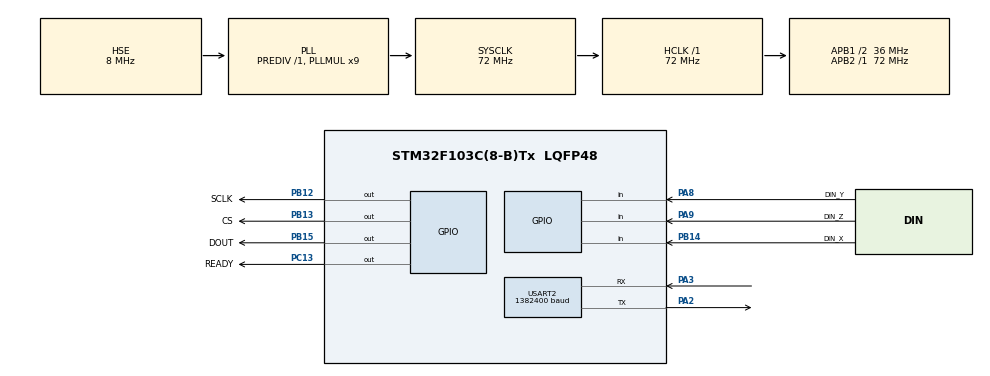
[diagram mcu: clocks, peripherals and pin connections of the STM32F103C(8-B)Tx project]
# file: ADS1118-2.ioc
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Dma.Request0=USART2_RX
Dma.Request1=USART2_TX
Dma.USART2_RX.0.Direction=DMA_PERIPH_TO_MEMORY
Dma.USART2_RX.0.Instance=DMA1_Channel6
Dma.USART2_RX.0.MemDataAlignment=DMA_MDATAALIGN_BYTE
Dma.USART2_RX.0.MemInc=DMA_MINC_ENABLE
Dma.USART2_RX.0.Mode=DMA_NORMAL
Dma.USART2_RX.0.PeriphDataAlignment=DMA_PDATAALIGN_BYTE
Dma.USART2_RX.0.PeriphInc=DMA_PINC_DISABLE
Dma.USART2_RX.0.Priority=DMA_PRIORITY_LOW
Dma.USART2_TX.1.Direction=DMA_MEMORY_TO_PERIPH
Dma.USART2_TX.1.Instance=DMA1_Channel7
Dma.USART2_TX.1.MemDataAlignment=DMA_MDATAALIGN_BYTE
Dma.USART2_TX.1.MemInc=DMA_MINC_ENABLE
Dma.USART2_TX.1.Mode=DMA_NORMAL
Dma.USART2_TX.1.PeriphDataAlignment=DMA_PDATAALIGN_BYTE
Dma.USART2_TX.1.PeriphInc=DMA_PINC_DISABLE
Dma.USART2_TX.1.Priority=DMA_PRIORITY_LOW
Mcu.Family=STM32F1
Mcu.Name=STM32F103C(8-B)Tx
Mcu.Package=LQFP48
NVIC.DMA1_Channel6_IRQn=true\:0\:0\:false\:false\:true\:false
NVIC.DMA1_Channel7_IRQn=true\:0\:0\:false\:false\:true\:false
NVIC.PriorityGroup=NVIC_PRIORITYGROUP_4
NVIC.USART2_IRQn=true\:0\:0\:false\:false\:true\:true
PA13.Mode=Serial_Wire
PA13.Signal=SYS_JTMS-SWDIO
PA14.Mode=Serial_Wire
PA14.Signal=SYS_JTCK-SWCLK
PA2.Mode=Asynchronous
PA2.Signal=USART2_TX
PA3.Mode=Asynchronous
PA3.Signal=USART2_RX
PA8.GPIO_Label=DIN_Y
PA8.Signal=GPIO_Input
PA9.GPIO_Label=DIN_Z
PA9.Signal=GPIO_Input
PB12.GPIO_Label=SCLK
PB12.Signal=GPIO_Output
PB13.GPIO_Label=CS
PB13.Signal=GPIO_Output
PB14.GPIO_Label=DIN_X
PB14.Signal=GPIO_Input
PB15.GPIO_Label=DOUT
PB15.Signal=GPIO_Output
PC13-TAMPER-RTC.GPIO_Label=READY
PC13-TAMPER-RTC.Signal=GPIO_Output
PD0-OSC_IN.Mode=HSE-External-Oscillator
PD0-OSC_IN.Signal=RCC_OSC_IN
PD1-OSC_OUT.Mode=HSE-External-Oscillator
PD1-OSC_OUT.Signal=RCC_OSC_OUT
ProjectManager.HeapSize=0x200
ProjectManager.StackSize=0x400
ProjectManager.TargetToolchain=TrueSTUDIO
RCC.AHBFreq_Value=72000000
RCC.APB1CLKDivider=RCC_HCLK_DIV2
RCC.APB1Freq_Value=36000000
RCC.APB1TimFreq_Value=72000000
RCC.APB2Freq_Value=72000000
RCC.APB2TimFreq_Value=72000000
RCC.HCLKFreq_Value=72000000
RCC.PLLMUL=RCC_PLL_MUL9
RCC.PLLSourceVirtual=RCC_PLLSOURCE_HSE
RCC.SYSCLKFreq_VALUE=72000000
RCC.SYSCLKSource=RCC_SYSCLKSOURCE_PLLCLK
RCC.USBFreq_Value=72000000
USART2.BaudRate=1382400
USART2.VirtualMode=VM_ASYNC
board=custom

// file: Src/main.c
/**
  ******************************************************************************
  * @file           : main.c
  * @brief          : Main program body
  ******************************************************************************
  ** This notice applies to any and all portions of this file
  * that are not between comment pairs USER CODE BEGIN and
  * USER CODE END. Other portions of this file, whether
  * inserted by the user or by software development tools
  * are owned by their respective copyright owners.
  *
  * COPYRIGHT(c) 2019 STMicroelectronics
  *
  * Redistribution and use in source and binary forms, with or without modification,
  * are permitted provided that the following conditions are met:
  *   1. Redistributions of source code must retain the above copyright notice,
  *      this list of conditions and the following disclaimer.
  *   2. Redistributions in binary form must reproduce the above copyright notice,
  *      this list of conditions and the following disclaimer in the documentation
  *      and/or other materials provided with the distribution.
  *   3. Neither the name of STMicroelectronics nor the names of its contributors
  *      may be used to endorse or promote products derived from this software
  *      without specific prior written permission.
  *
  * THIS SOFTWARE IS PROVIDED BY THE COPYRIGHT HOLDERS AND CONTRIBUTORS "AS IS"
  * AND ANY EXPRESS OR IMPLIED WARRANTIES, INCLUDING, BUT NOT LIMITED TO, THE
  * IMPLIED WARRANTIES OF MERCHANTABILITY AND FITNESS FOR A PARTICULAR PURPOSE ARE
  * DISCLAIMED. IN NO EVENT SHALL THE COPYRIGHT HOLDER OR CONTRIBUTORS BE LIABLE
  * FOR ANY DIRECT, INDIRECT, INCIDENTAL, SPECIAL, EXEMPLARY, OR CONSEQUENTIAL
  * DAMAGES (INCLUDING, BUT NOT LIMITED TO, PROCUREMENT OF SUBSTITUTE GOODS OR
  * SERVICES; LOSS OF USE, DATA, OR PROFITS; OR BUSINESS INTERRUPTION) HOWEVER
  * CAUSED AND ON ANY THEORY OF LIABILITY, WHETHER IN CONTRACT, STRICT LIABILITY,
  * OR TORT (INCLUDING NEGLIGENCE OR OTHERWISE) ARISING IN ANY WAY OUT OF THE USE
  * OF THIS SOFTWARE, EVEN IF ADVISED OF THE POSSIBILITY OF SUCH DAMAGE.
  *
  ******************************************************************************
  */
#include "main.h"
#include "stm32f1xx_hal.h"

/* USER CODE BEGIN Includes */
#include "dwt_stm32_delay.h"
/* USER CODE END Includes */

UART_HandleTypeDef huart2;
DMA_HandleTypeDef hdma_usart2_rx;
DMA_HandleTypeDef hdma_usart2_tx;

/* USER CODE BEGIN PV */
/* Private variables ---------------------------------------------------------*/

/* USER CODE END PV */

void SystemClock_Config(void);
static void MX_GPIO_Init(void);
static void MX_DMA_Init(void);
static void MX_USART2_UART_Init(void);

/* USER CODE BEGIN PFP */
/* Private function prototypes -----------------------------------------------*/

/* USER CODE END PFP */

/* USER CODE BEGIN 0 */
uint16_t  data[3];
uint16_t command=0x04EB;
uint8_t   rxBuffer,sync_code=0x00;
/*
 * readCommand Function
 * Parameters: 	config ----> CONFIG COMMAND TO SEND
 * 				discardData ---> Discard The return Data from ADS1118
 *
 * 	Basic Idea of Function:
 * 		Sends 16 bit length of config command to all three ADS1118.
 * 		At the same time, if discardData==false, stores the 3 16 bit
 * 		return data of all ADS1118 to data variable
 *
 * 		For Deeper information for why does the function works this
 * 		way is to read Datasheet or Ask MEEE :D :D
 *
 */
void readCommand(uint16_t config,uint8_t discardData)
{
	uint16_t read;
	int16_t counter=15;
	if(discardData==0)
	{
		data[0]=0x0000;
		data[1]=0x0000;
		data[2]=0x0000;
	}
	DWT_Delay_us(1);
	while(counter>=0)
	{
		read=config>>counter;
		read=read&0x0001;
		read=read==0x0001?GPIO_PIN_SET:GPIO_PIN_RESET;
		HAL_GPIO_WritePin(DOUT_GPIO_Port,DOUT_Pin,read);
		HAL_GPIO_WritePin(SCLK_GPIO_Port,SCLK_Pin,GPIO_PIN_SET);
		DWT_Delay_us(1);
		HAL_GPIO_WritePin(SCLK_GPIO_Port,SCLK_Pin,GPIO_PIN_RESET);
		if(discardData==0)
		{
			read=HAL_GPIO_ReadPin(DIN_X_GPIO_Port,DIN_X_Pin)==GPIO_PIN_SET?0x01:0x00;
			read=read<<counter;
			data[0]=data[0]|read;
			read=HAL_GPIO_ReadPin(DIN_Y_GPIO_Port,DIN_Y_Pin)==GPIO_PIN_SET?0x01:0x00;
			read=read<<counter;
			data[1]=data[1]|read;
			read=HAL_GPIO_ReadPin(DIN_Z_GPIO_Port,DIN_Z_Pin)==GPIO_PIN_SET?0x01:0x00;
			read=read<<counter--;
			data[2]=data[2]|read;
		}else{
			DWT_Delay_us(2);
			counter--;
		}
	}
	if(data[0]>=0)
		data[0]++;
	if(data[1]>=0)
		data[1]++;
	if(data[2]>=0)
		data[2]++;
	//HAL_GPIO_WritePin(CS_GPIO_Port,CS_Pin,GPIO_PIN_SET);
	return;
}
void HAL_UART_RxCpltCallback(UART_HandleTypeDef *huart)
{
	/*
	 * UART RECEIVE Callback
	 * All receive byte are received in this function
	 * Read Byte will determine the active action of STM32 below
	 */
  if(rxBuffer=='0'){
	  command=0x00EB;
  }else if(rxBuffer=='1'){
	  command=0x02EB;
  }else if(rxBuffer=='2'){
	  command=0x04EB;
  }else if(rxBuffer=='3'){
	  command=0x06EB;
  }else if(rxBuffer=='4'){
	  command=0x08EB;
  }else if(rxBuffer=='5'){
	  command=0x0AEB;
  }
  HAL_UART_Receive_DMA(&huart2, &rxBuffer, 1);
}
/* USER CODE END 0 */

int main(void)
{

  /* MCU Configuration----------------------------------------------------------*/

  /* Reset of all peripherals, Initializes the Flash interface and the Systick. */
  HAL_Init();

  /* Configure the system clock */
  SystemClock_Config();

  /* Initialize all configured peripherals */
  MX_GPIO_Init();
  MX_DMA_Init();
  MX_USART2_UART_Init();
  /* USER CODE BEGIN 2 */
  //Initialize Pins
  HAL_GPIO_WritePin(READY_GPIO_Port,READY_Pin,GPIO_PIN_SET);
  HAL_GPIO_WritePin(CS_GPIO_Port,CS_Pin,GPIO_PIN_SET);
  HAL_GPIO_WritePin(SCLK_GPIO_Port,SCLK_Pin,GPIO_PIN_RESET);
  HAL_GPIO_WritePin(DOUT_GPIO_Port,DOUT_Pin,GPIO_PIN_RESET);
  DWT_Delay_Init();
  HAL_UART_Transmit(&huart2,"AT",2,1);
  HAL_Delay(1000);
  HAL_GPIO_WritePin(CS_GPIO_Port,CS_Pin,GPIO_PIN_RESET);

  /* Update Config Reg 0x04EB, refer to datasheet @ page 25 on Table 7
  	 For more information about Config Register
 	 For Data Communication Please refer to Page 24 to see
  	 How does data transfer to each other
   */
  readCommand(0x04EB,1);
  readCommand(0x04EB,1);

  /*
   * LED LIGHT ON to determine that initialization is complete
   * The color of the led is Yellowish and is found on the
   * STM32 board
   */
  HAL_GPIO_WritePin(READY_GPIO_Port,READY_Pin,GPIO_PIN_RESET);

  /*
   * Set DMA(Direct Memory Access) Receive mode for UART
   * and Callback HAL_UART_RxCpltCallback is called everytime
   * a Byte is received
   */
  HAL_UART_Receive_DMA(&huart2,&rxBuffer,1);
  /* USER CODE END 2 */

  /* Infinite loop */
  /* USER CODE BEGIN WHILE */
  while (1)
  {
	  /*
	   * Checks if the 3 ADS1118 Out Pin is low
	   * if all out pins are low start reading the three data
	   */
	  if(HAL_GPIO_ReadPin(DIN_X_GPIO_Port,DIN_X_Pin)==GPIO_PIN_RESET)
	  {
		  if(HAL_GPIO_ReadPin(DIN_Y_GPIO_Port,DIN_Y_Pin)==GPIO_PIN_RESET)
		  {
			  if(HAL_GPIO_ReadPin(DIN_Z_GPIO_Port,DIN_Z_Pin)==GPIO_PIN_RESET)
			  {
				  readCommand(command,0);//Send Command and Read The 16 bit Data
				  readCommand(command,1);//Send Command and Discard the return Data
				  /*
				   * Sends The data through bluetooth
				   * Sync_Code variable for synchronizing data with Android
				   */
				  HAL_UART_Transmit(&huart2,&sync_code,1,1);
				  HAL_UART_Transmit(&huart2,data,6,1s);
			  }
		  }
	  }

  /* USER CODE END WHILE */

  }

}

void SystemClock_Config(void)
{

  RCC_OscInitTypeDef RCC_OscInitStruct;
  RCC_ClkInitTypeDef RCC_ClkInitStruct;

    /**Initializes the CPU, AHB and APB busses clocks
    */
  RCC_OscInitStruct.OscillatorType = RCC_OSCILLATORTYPE_HSE;
  RCC_OscInitStruct.HSEState = RCC_HSE_ON;
  RCC_OscInitStruct.HSEPredivValue = RCC_HSE_PREDIV_DIV1;
  RCC_OscInitStruct.HSIState = RCC_HSI_ON;
  RCC_OscInitStruct.PLL.PLLState = RCC_PLL_ON;
  RCC_OscInitStruct.PLL.PLLSource = RCC_PLLSOURCE_HSE;
  RCC_OscInitStruct.PLL.PLLMUL = RCC_PLL_MUL9;
  if (HAL_RCC_OscConfig(&RCC_OscInitStruct) != HAL_OK)
  {
    _Error_Handler(__FILE__, __LINE__);
  }

    /**Initializes the CPU, AHB and APB busses clocks
    */
  RCC_ClkInitStruct.ClockType = RCC_CLOCKTYPE_HCLK|RCC_CLOCKTYPE_SYSCLK
                              |RCC_CLOCKTYPE_PCLK1|RCC_CLOCKTYPE_PCLK2;
  RCC_ClkInitStruct.SYSCLKSource = RCC_SYSCLKSOURCE_PLLCLK;
  RCC_ClkInitStruct.AHBCLKDivider = RCC_SYSCLK_DIV1;
  RCC_ClkInitStruct.APB1CLKDivider = RCC_HCLK_DIV2;
  RCC_ClkInitStruct.APB2CLKDivider = RCC_HCLK_DIV1;

  if (HAL_RCC_ClockConfig(&RCC_ClkInitStruct, FLASH_LATENCY_2) != HAL_OK)
  {
    _Error_Handler(__FILE__, __LINE__);
  }

    /**Configure the Systick interrupt time
    */
  HAL_SYSTICK_Config(HAL_RCC_GetHCLKFreq()/1000);

    /**Configure the Systick
    */
  HAL_SYSTICK_CLKSourceConfig(SYSTICK_CLKSOURCE_HCLK);

  /* SysTick_IRQn interrupt configuration */
  HAL_NVIC_SetPriority(SysTick_IRQn, 0, 0);
}

/* USART2 init function */
static void MX_USART2_UART_Init(void)
{

  huart2.Instance = USART2;
  huart2.Init.BaudRate = 1382400;
  huart2.Init.WordLength = UART_WORDLENGTH_8B;
  huart2.Init.StopBits = UART_STOPBITS_1;
  huart2.Init.Parity = UART_PARITY_NONE;
  huart2.Init.Mode = UART_MODE_TX_RX;
  huart2.Init.HwFlowCtl = UART_HWCONTROL_NONE;
  huart2.Init.OverSampling = UART_OVERSAMPLING_16;
  if (HAL_UART_Init(&huart2) != HAL_OK)
  {
    _Error_Handler(__FILE__, __LINE__);
  }

}

static void MX_DMA_Init(void)
{
  /* DMA controller clock enable */
  __HAL_RCC_DMA1_CLK_ENABLE();

  /* DMA interrupt init */
  /* DMA1_Channel6_IRQn interrupt configuration */
  HAL_NVIC_SetPriority(DMA1_Channel6_IRQn, 0, 0);
  HAL_NVIC_EnableIRQ(DMA1_Channel6_IRQn);
  /* DMA1_Channel7_IRQn interrupt configuration */
  HAL_NVIC_SetPriority(DMA1_Channel7_IRQn, 0, 0);
  HAL_NVIC_EnableIRQ(DMA1_Channel7_IRQn);

}

/** Configure pins as
        * Analog
        * Input
        * Output
        * EVENT_OUT
        * EXTI
*/
static void MX_GPIO_Init(void)
{

  GPIO_InitTypeDef GPIO_InitStruct;

  /* GPIO Ports Clock Enable */
  __HAL_RCC_GPIOC_CLK_ENABLE();
  __HAL_RCC_GPIOD_CLK_ENABLE();
  __HAL_RCC_GPIOA_CLK_ENABLE();
  __HAL_RCC_GPIOB_CLK_ENABLE();

  /*Configure GPIO pin Output Level */
  HAL_GPIO_WritePin(READY_GPIO_Port, READY_Pin, GPIO_PIN_RESET);

  /*Configure GPIO pin Output Level */
  HAL_GPIO_WritePin(GPIOB, SCLK_Pin|CS_Pin|DOUT_Pin, GPIO_PIN_RESET);

  /*Configure GPIO pin : READY_Pin */
  GPIO_InitStruct.Pin = READY_Pin;
  GPIO_InitStruct.Mode = GPIO_MODE_OUTPUT_PP;
  GPIO_InitStruct.Pull = GPIO_NOPULL;
  GPIO_InitStruct.Speed = GPIO_SPEED_FREQ_LOW;
  HAL_GPIO_Init(READY_GPIO_Port, &GPIO_InitStruct);

  /*Configure GPIO pins : SCLK_Pin CS_Pin DOUT_Pin */
  GPIO_InitStruct.Pin = SCLK_Pin|CS_Pin|DOUT_Pin;
  GPIO_InitStruct.Mode = GPIO_MODE_OUTPUT_PP;
  GPIO_InitStruct.Pull = GPIO_NOPULL;
  GPIO_InitStruct.Speed = GPIO_SPEED_FREQ_LOW;
  HAL_GPIO_Init(GPIOB, &GPIO_InitStruct);

  /*Configure GPIO pin : DIN_X_Pin */
  GPIO_InitStruct.Pin = DIN_X_Pin;
  GPIO_InitStruct.Mode = GPIO_MODE_INPUT;
  GPIO_InitStruct.Pull = GPIO_NOPULL;
  HAL_GPIO_Init(DIN_X_GPIO_Port, &GPIO_InitStruct);

  /*Configure GPIO pins : DIN_Y_Pin DIN_Z_Pin */
  GPIO_InitStruct.Pin = DIN_Y_Pin|DIN_Z_Pin;
  GPIO_InitStruct.Mode = GPIO_MODE_INPUT;
  GPIO_InitStruct.Pull = GPIO_NOPULL;
  HAL_GPIO_Init(GPIOA, &GPIO_InitStruct);

}

void _Error_Handler(char *file, int line)
{
  while(1)
  {
  }
}

/************************ (C) COPYRIGHT STMicroelectronics *****END OF FILE****/
